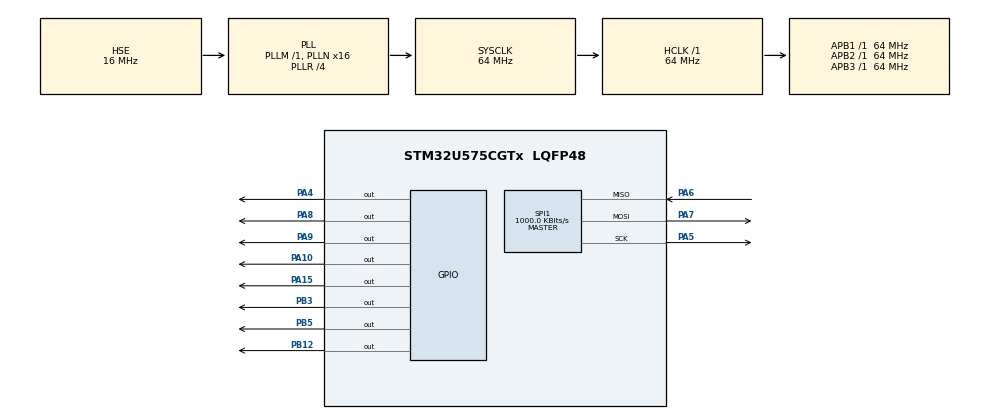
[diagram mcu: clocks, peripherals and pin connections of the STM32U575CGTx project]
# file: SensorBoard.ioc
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CORTEX_M33_NS.userName=CORTEX_M33
Mcu.Family=STM32U5
Mcu.Name=STM32U575CGTx
Mcu.Package=LQFP48
NVIC.PriorityGroup=NVIC_PRIORITYGROUP_4
PA10.Signal=GPIO_Output
PA13\ (JTMS/SWDIO).Mode=Serial_Wire
PA13\ (JTMS/SWDIO).Signal=DEBUG_JTMS-SWDIO
PA14\ (JTCK/SWCLK).Mode=Serial_Wire
PA14\ (JTCK/SWCLK).Signal=DEBUG_JTCK-SWCLK
PA15\ (JTDI).Signal=GPIO_Output
PA4.PinState=GPIO_PIN_SET
PA4.Signal=GPIO_Output
PA5.Mode=Full_Duplex_Master
PA5.Signal=SPI1_SCK
PA6.Mode=Full_Duplex_Master
PA6.Signal=SPI1_MISO
PA7.Mode=Full_Duplex_Master
PA7.Signal=SPI1_MOSI
PA8.Signal=GPIO_Output
PA9.Signal=GPIO_Output
PB12.Signal=GPIO_Output
PB3\ (JTDO/TRACESWO).Signal=GPIO_Output
PB5.Signal=GPIO_Output
PH0-OSC_IN\ (PH0).Mode=HSE-External-Oscillator
PH0-OSC_IN\ (PH0).Signal=RCC_OSC_IN
PH1-OSC_OUT\ (PH1).Mode=HSE-External-Oscillator
PH1-OSC_OUT\ (PH1).Signal=RCC_OSC_OUT
ProjectManager.HeapSize=0x200
ProjectManager.StackSize=0x400
ProjectManager.TargetToolchain=STM32CubeIDE
RCC.ADCFreq_Value=16000000
RCC.AHBFreq_Value=64000000
RCC.APB1Freq_Value=64000000
RCC.APB1TimFreq_Value=64000000
RCC.APB2Freq_Value=64000000
RCC.APB2TimFreq_Value=64000000
RCC.APB3Freq_Value=64000000
RCC.CortexFreq_Value=64000000
RCC.EPOD_VALUE=16000000
RCC.HCLKFreq_Value=64000000
RCC.HSE_VALUE=16000000
RCC.HSI48_VALUE=48000000
RCC.HSI_VALUE=16000000
RCC.LSE_VALUE=32768
RCC.LSIDIV_VALUE=32000
RCC.MSI_VALUE=4000000
RCC.PLL1R=4
RCC.PLLFRACN=0
RCC.PLLN=16
RCC.PLLSourceVirtual=RCC_PLLSOURCE_HSE
RCC.SYSCLKFreq_VALUE=64000000
RCC.SYSCLKSource=RCC_SYSCLKSOURCE_PLLCLK
RCC.USBFreq_Value=48000000
RCC.VCOOutputFreq_Value=256000000
SPI1.BaudRatePrescaler=SPI_BAUDRATEPRESCALER_64
SPI1.CLKPhase=SPI_PHASE_2EDGE
SPI1.CLKPolarity=SPI_POLARITY_HIGH
SPI1.CalculateBaudRate=1000.0 KBits/s
SPI1.DataSize=SPI_DATASIZE_8BIT
SPI1.Direction=SPI_DIRECTION_2LINES
SPI1.Mode=SPI_MODE_MASTER
SPI1.VirtualType=VM_MASTER
VP_LPBAMQUEUE_VS_QUEUE.Mode=QUEUEMODE
VP_LPBAM_VS_SIG1.Mode=SmartRun
VP_LPBAM_VS_SIG4.Mode=LPDMA1
VP_MEMORYMAP_VS_MEMORYMAP.Mode=CurAppReg
VP_PWR_VS_SECSignals.Mode=Security/Privilege
board=custom

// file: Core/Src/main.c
/* USER CODE BEGIN Header */
/**
  ******************************************************************************
  * @file           : main.c
  * @brief          : Main program body
  ******************************************************************************
  * @attention
  *
  * Copyright (c) 2025 STMicroelectronics.
  * All rights reserved.
  *
  * This software is licensed under terms that can be found in the LICENSE file
  * in the root directory of this software component.
  * If no LICENSE file comes with this software, it is provided AS-IS.
  *
  ******************************************************************************
  */
/* USER CODE END Header */
#include "main.h"

/* USER CODE BEGIN Includes */

#include <string.h>
#include "ad717x.h"
#include "ad411x_regs.h"

/* USER CODE END Includes */

SPI_HandleTypeDef hspi1;

/* USER CODE BEGIN PV */

ad717x_dev *adc_dev;

/* USER CODE END PV */

void SystemClock_Config(void);
static void MX_GPIO_Init(void);
static void MX_SPI1_Init(void);
/* USER CODE BEGIN PFP */

extern void ad_build_spi_init(SPI_HandleTypeDef *hspi, GPIO_TypeDef *cs_port, uint16_t cs_pin, struct no_os_spi_init_param *out);
void adc_init(void);

/* USER CODE END PFP */

int main(void)
{

  /* MCU Configuration--------------------------------------------------------*/

  /* Reset of all peripherals, Initializes the Flash interface and the Systick. */
  HAL_Init();

  /* Configure the system clock */
  SystemClock_Config();

  /* Initialize all configured peripherals */
  MX_GPIO_Init();
  MX_SPI1_Init();
  /* USER CODE BEGIN 2 */

  adc_init();

  id_val = AD717X_ReadRegister(adc_dev, AD717X_ID_REG);

  /* USER CODE END 2 */

  /* Infinite loop */
  /* USER CODE BEGIN WHILE */
  while (1)
  {

	  int32_t code;

	      if (AD717X_WaitForReady(adc_dev, 1000) == 0 &&
	          ad717x_single_read(adc_dev, 0, &code) == 0)
	      {
	          const float VREF  = 2.5f;
	          const float GAIN  = 1.0f;
	          const float SCALE = VREF / (GAIN * 8388608.0f);

	          float v_adc = (float)code * SCALE; // volts at ADC pin

	          // AD8495 amp (5 mV/C)
	          const float MV_PER_C = 0.005f;
	          float tC = v_adc / MV_PER_C;

	          (void)tC;
	      }

    /* USER CODE END WHILE */

  }
}

void SystemClock_Config(void)
{
  RCC_OscInitTypeDef RCC_OscInitStruct = {0};
  RCC_ClkInitTypeDef RCC_ClkInitStruct = {0};

  /** Configure the main internal regulator output voltage
  */
  if (HAL_PWREx_ControlVoltageScaling(PWR_REGULATOR_VOLTAGE_SCALE2) != HAL_OK)
  {
    Error_Handler();
  }

  /** Initializes the CPU, AHB and APB buses clocks
  */
  RCC_OscInitStruct.OscillatorType = RCC_OSCILLATORTYPE_HSE;
  RCC_OscInitStruct.HSEState = RCC_HSE_ON;
  RCC_OscInitStruct.PLL.PLLState = RCC_PLL_ON;
  RCC_OscInitStruct.PLL.PLLSource = RCC_PLLSOURCE_HSE;
  RCC_OscInitStruct.PLL.PLLMBOOST = RCC_PLLMBOOST_DIV1;
  RCC_OscInitStruct.PLL.PLLM = 1;
  RCC_OscInitStruct.PLL.PLLN = 16;
  RCC_OscInitStruct.PLL.PLLP = 2;
  RCC_OscInitStruct.PLL.PLLQ = 2;
  RCC_OscInitStruct.PLL.PLLR = 4;
  RCC_OscInitStruct.PLL.PLLRGE = RCC_PLLVCIRANGE_1;
  RCC_OscInitStruct.PLL.PLLFRACN = 0;
  if (HAL_RCC_OscConfig(&RCC_OscInitStruct) != HAL_OK)
  {
    Error_Handler();
  }

  /** Initializes the CPU, AHB and APB buses clocks
  */
  RCC_ClkInitStruct.ClockType = RCC_CLOCKTYPE_HCLK|RCC_CLOCKTYPE_SYSCLK
                              |RCC_CLOCKTYPE_PCLK1|RCC_CLOCKTYPE_PCLK2
                              |RCC_CLOCKTYPE_PCLK3;
  RCC_ClkInitStruct.SYSCLKSource = RCC_SYSCLKSOURCE_PLLCLK;
  RCC_ClkInitStruct.AHBCLKDivider = RCC_SYSCLK_DIV1;
  RCC_ClkInitStruct.APB1CLKDivider = RCC_HCLK_DIV1;
  RCC_ClkInitStruct.APB2CLKDivider = RCC_HCLK_DIV1;
  RCC_ClkInitStruct.APB3CLKDivider = RCC_HCLK_DIV1;

  if (HAL_RCC_ClockConfig(&RCC_ClkInitStruct, FLASH_LATENCY_2) != HAL_OK)
  {
    Error_Handler();
  }
}

static void MX_SPI1_Init(void)
{

  SPI_AutonomousModeConfTypeDef HAL_SPI_AutonomousMode_Cfg_Struct = {0};

  /* SPI1 parameter configuration*/
  hspi1.Instance = SPI1;
  hspi1.Init.Mode = SPI_MODE_MASTER;
  hspi1.Init.Direction = SPI_DIRECTION_2LINES;
  hspi1.Init.DataSize = SPI_DATASIZE_8BIT;
  hspi1.Init.CLKPolarity = SPI_POLARITY_HIGH;
  hspi1.Init.CLKPhase = SPI_PHASE_2EDGE;
  hspi1.Init.NSS = SPI_NSS_SOFT;
  hspi1.Init.BaudRatePrescaler = SPI_BAUDRATEPRESCALER_64;
  hspi1.Init.FirstBit = SPI_FIRSTBIT_MSB;
  hspi1.Init.TIMode = SPI_TIMODE_DISABLE;
  hspi1.Init.CRCCalculation = SPI_CRCCALCULATION_DISABLE;
  hspi1.Init.CRCPolynomial = 0x7;
  hspi1.Init.NSSPMode = SPI_NSS_PULSE_DISABLE;
  hspi1.Init.NSSPolarity = SPI_NSS_POLARITY_LOW;
  hspi1.Init.FifoThreshold = SPI_FIFO_THRESHOLD_01DATA;
  hspi1.Init.MasterSSIdleness = SPI_MASTER_SS_IDLENESS_00CYCLE;
  hspi1.Init.MasterInterDataIdleness = SPI_MASTER_INTERDATA_IDLENESS_00CYCLE;
  hspi1.Init.MasterReceiverAutoSusp = SPI_MASTER_RX_AUTOSUSP_DISABLE;
  hspi1.Init.MasterKeepIOState = SPI_MASTER_KEEP_IO_STATE_DISABLE;
  hspi1.Init.IOSwap = SPI_IO_SWAP_DISABLE;
  hspi1.Init.ReadyMasterManagement = SPI_RDY_MASTER_MANAGEMENT_INTERNALLY;
  hspi1.Init.ReadyPolarity = SPI_RDY_POLARITY_HIGH;
  if (HAL_SPI_Init(&hspi1) != HAL_OK)
  {
    Error_Handler();
  }
  HAL_SPI_AutonomousMode_Cfg_Struct.TriggerState = SPI_AUTO_MODE_DISABLE;
  HAL_SPI_AutonomousMode_Cfg_Struct.TriggerSelection = SPI_GRP1_GPDMA_CH0_TCF_TRG;
  HAL_SPI_AutonomousMode_Cfg_Struct.TriggerPolarity = SPI_TRIG_POLARITY_RISING;
  if (HAL_SPIEx_SetConfigAutonomousMode(&hspi1, &HAL_SPI_AutonomousMode_Cfg_Struct) != HAL_OK)
  {
    Error_Handler();
  }

}

static void MX_GPIO_Init(void)
{
  GPIO_InitTypeDef GPIO_InitStruct = {0};

  /* GPIO Ports Clock Enable */
  __HAL_RCC_GPIOH_CLK_ENABLE();
  __HAL_RCC_GPIOA_CLK_ENABLE();
  __HAL_RCC_GPIOB_CLK_ENABLE();

  /*Configure GPIO pin Output Level */
  HAL_GPIO_WritePin(GPIOA, GPIO_PIN_4, GPIO_PIN_SET);

  /*Configure GPIO pin Output Level */
  HAL_GPIO_WritePin(GPIOB, GPIO_PIN_12|GPIO_PIN_3|GPIO_PIN_5, GPIO_PIN_RESET);

  /*Configure GPIO pin Output Level */
  HAL_GPIO_WritePin(GPIOA, GPIO_PIN_8|GPIO_PIN_9|GPIO_PIN_10|GPIO_PIN_15, GPIO_PIN_RESET);

  /*Configure GPIO pins : PA4 PA8 PA9 PA10
                           PA15 */
  GPIO_InitStruct.Pin = GPIO_PIN_4|GPIO_PIN_8|GPIO_PIN_9|GPIO_PIN_10
                          |GPIO_PIN_15;
  GPIO_InitStruct.Mode = GPIO_MODE_OUTPUT_PP;
  GPIO_InitStruct.Pull = GPIO_NOPULL;
  GPIO_InitStruct.Speed = GPIO_SPEED_FREQ_LOW;
  HAL_GPIO_Init(GPIOA, &GPIO_InitStruct);

  /*Configure GPIO pins : PB12 PB3 PB5 */
  GPIO_InitStruct.Pin = GPIO_PIN_12|GPIO_PIN_3|GPIO_PIN_5;
  GPIO_InitStruct.Mode = GPIO_MODE_OUTPUT_PP;
  GPIO_InitStruct.Pull = GPIO_NOPULL;
  GPIO_InitStruct.Speed = GPIO_SPEED_FREQ_LOW;
  HAL_GPIO_Init(GPIOB, &GPIO_InitStruct);

}

/* USER CODE BEGIN 4 */

void adc_init(void)
{
    struct no_os_spi_init_param spi_init;
    ad_build_spi_init(&hspi1, GPIOA, GPIO_PIN_4, &spi_init);

    extern ad717x_st_reg ad4111_regs[];
    size_t num_regs = sizeof(ad4111_regs) / sizeof(ad4111_regs[0]);

    //one channel ; VIN0 vs VINCOM on Setup0
    struct ad717x_channel_map chan_map[1] = {0};
    chan_map[0].analog_inputs.analog_input_pairs = VIN0_VINCOM;
    chan_map[0].setup_sel      = 0;
    chan_map[0].channel_enable = true;

    //Setup0 : bipolar, input/ref buffers enabled, internal ref
    struct ad717x_channel_setup setups[1] = {0};
    setups[0].bi_unipolar = false;    // 1 = bipolar coding
    setups[0].input_buff  = true;
    setups[0].ref_buff    = true;
    setups[0].ref_source  = INTERNAL_REF;

    // filter : sinc5/sinc1, 200 sps
    struct ad717x_filtcon filt[1] = {0};
    filt[0].oder = sinc5_sinc1;
    filt[0].odr  = sps_200;

    ad717x_init_param init = {0};
    init.spi_init       = spi_init;
    init.regs           = ad4111_regs;
    init.num_regs       = (uint8_t)num_regs;
    init.active_device  = ID_AD4111;
    init.ref_en         = true;
    init.num_channels   = 1;
    init.num_setups     = 1;
    init.mode           = SINGLE;

    memcpy(init.chan_map, chan_map, sizeof(chan_map));
    memcpy(init.setups, setups, sizeof(setups));
    memcpy(init.filter_configuration, filt, sizeof(filt));

    if (AD717X_Init(&adc_dev, init) != 0 || adc_dev == NULL) {
        Error_Handler();
    } else {
        ad717x_set_channel_status(adc_dev, 0, true);
    }

}

/* USER CODE END 4 */

void Error_Handler(void)
{
  __disable_irq();
  while (1)
  {
  }
}
